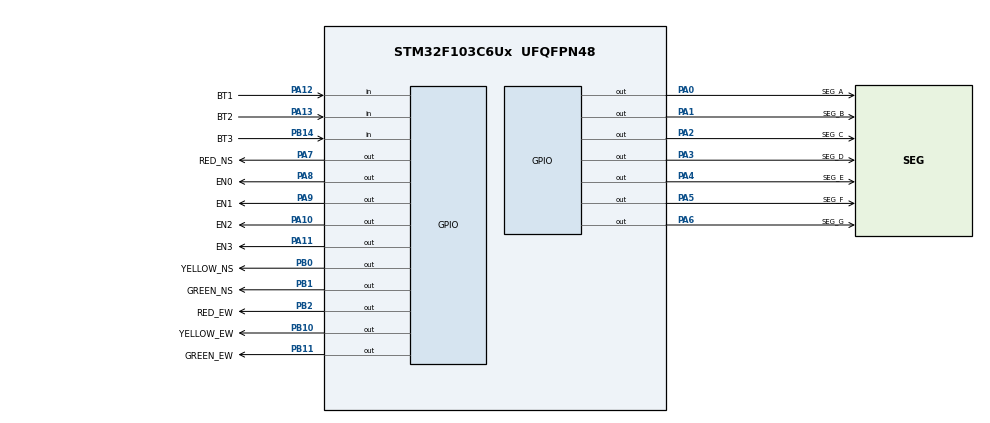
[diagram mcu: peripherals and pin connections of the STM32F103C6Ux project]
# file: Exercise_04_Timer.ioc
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Mcu.Family=STM32F1
Mcu.Name=STM32F103C6Ux
Mcu.Package=UFQFPN48
NVIC.PriorityGroup=NVIC_PRIORITYGROUP_4
NVIC.TIM2_IRQn=true\:0\:0\:false\:false\:true\:true\:true\:true
PA0-WKUP.GPIO_Label=SEG_A
PA0-WKUP.Signal=GPIO_Output
PA1.GPIO_Label=SEG_B
PA1.Signal=GPIO_Output
PA10.GPIO_Label=EN2
PA10.Signal=GPIO_Output
PA11.GPIO_Label=EN3
PA11.Signal=GPIO_Output
PA12.GPIO_Label=BT1
PA12.Signal=GPIO_Input
PA13.GPIO_Label=BT2
PA13.Signal=GPIO_Input
PA2.GPIO_Label=SEG_C
PA2.Signal=GPIO_Output
PA3.GPIO_Label=SEG_D
PA3.Signal=GPIO_Output
PA4.GPIO_Label=SEG_E
PA4.Signal=GPIO_Output
PA5.GPIO_Label=SEG_F
PA5.Signal=GPIO_Output
PA6.GPIO_Label=SEG_G
PA6.Signal=GPIO_Output
PA7.GPIO_Label=RED_NS
PA7.Signal=GPIO_Output
PA8.GPIO_Label=EN0
PA8.Signal=GPIO_Output
PA9.GPIO_Label=EN1
PA9.Signal=GPIO_Output
PB0.GPIO_Label=YELLOW_NS
PB0.Signal=GPIO_Output
PB1.GPIO_Label=GREEN_NS
PB1.Signal=GPIO_Output
PB10.GPIO_Label=YELLOW_EW
PB10.Signal=GPIO_Output
PB11.GPIO_Label=GREEN_EW
PB11.Signal=GPIO_Output
PB14.GPIO_Label=BT3
PB14.Signal=GPIO_Input
PB2.GPIO_Label=RED_EW
PB2.Signal=GPIO_Output
ProjectManager.HeapSize=0x200
ProjectManager.StackSize=0x400
ProjectManager.TargetToolchain=Makefile
RCC.APB1Freq_Value=8000000
RCC.APB2Freq_Value=8000000
TIM2.Period=9
TIM2.Prescaler=7999
VP_SYS_VS_ND.Mode=No_Debug
VP_TIM2_VS_ClockSourceINT.Mode=Internal
board=custom

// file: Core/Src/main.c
/* USER CODE BEGIN Header */
/**
  ******************************************************************************
  * @file           : main.c
  * @brief          : Main program body
  ******************************************************************************
  * @attention
  *
  * Copyright (c) 2026 STMicroelectronics.
  * All rights reserved.
  *
  * This software is licensed under terms that can be found in the LICENSE file
  * in the root directory of this software component.
  * If no LICENSE file comes with this software, it is provided AS-IS.
  *
  ******************************************************************************
  */
/* USER CODE END Header */
#include "main.h"

TIM_HandleTypeDef htim2;

void SystemClock_Config(void);
static void MX_GPIO_Init(void);
static void MX_TIM2_Init(void);

/* USER CODE BEGIN 0 */

volatile int timer0_counter = 0;
volatile int timer0_flag = 0;

int TIMER_CYCLE = 10;

void setTimer0(int duration)
{
    timer0_counter = duration / TIMER_CYCLE;
    timer0_flag = 0;
}

void timer_run(void)
{
    if (timer0_counter > 0)
    {
        timer0_counter--;

        if (timer0_counter == 0)
        {
            timer0_flag = 1;
        }
    }
}

/* USER CODE END 0 */

int main(void)
{

  /* MCU Configuration--------------------------------------------------------*/

  /* Reset of all peripherals, Initializes the Flash interface and the Systick. */
  HAL_Init();

  /* Configure the system clock */
  SystemClock_Config();

  /* Initialize all configured peripherals */
  MX_GPIO_Init();
  MX_TIM2_Init();
  /* USER CODE BEGIN 2 */
  HAL_TIM_Base_Start_IT(&htim2);

  setTimer0(250);
  /* USER CODE END 2 */

  /* Infinite loop */
  /* USER CODE BEGIN WHILE */
  while (1)
  {
      if (timer0_flag == 1)
      {
          HAL_GPIO_TogglePin(RED_NS_GPIO_Port, RED_NS_Pin);

          setTimer0(250);
      }
  }
  /* USER CODE END 3 */
}

void SystemClock_Config(void)
{
  RCC_OscInitTypeDef RCC_OscInitStruct = {0};
  RCC_ClkInitTypeDef RCC_ClkInitStruct = {0};

  /** Initializes the RCC Oscillators according to the specified parameters
  * in the RCC_OscInitTypeDef structure.
  */
  RCC_OscInitStruct.OscillatorType = RCC_OSCILLATORTYPE_HSI;
  RCC_OscInitStruct.HSIState = RCC_HSI_ON;
  RCC_OscInitStruct.HSICalibrationValue = RCC_HSICALIBRATION_DEFAULT;
  RCC_OscInitStruct.PLL.PLLState = RCC_PLL_NONE;
  if (HAL_RCC_OscConfig(&RCC_OscInitStruct) != HAL_OK)
  {
    Error_Handler();
  }

  /** Initializes the CPU, AHB and APB buses clocks
  */
  RCC_ClkInitStruct.ClockType = RCC_CLOCKTYPE_HCLK|RCC_CLOCKTYPE_SYSCLK
                              |RCC_CLOCKTYPE_PCLK1|RCC_CLOCKTYPE_PCLK2;
  RCC_ClkInitStruct.SYSCLKSource = RCC_SYSCLKSOURCE_HSI;
  RCC_ClkInitStruct.AHBCLKDivider = RCC_SYSCLK_DIV1;
  RCC_ClkInitStruct.APB1CLKDivider = RCC_HCLK_DIV1;
  RCC_ClkInitStruct.APB2CLKDivider = RCC_HCLK_DIV1;

  if (HAL_RCC_ClockConfig(&RCC_ClkInitStruct, FLASH_LATENCY_0) != HAL_OK)
  {
    Error_Handler();
  }
}

static void MX_TIM2_Init(void)
{

  TIM_ClockConfigTypeDef sClockSourceConfig = {0};
  TIM_MasterConfigTypeDef sMasterConfig = {0};

  htim2.Instance = TIM2;
  htim2.Init.Prescaler = 7999;
  htim2.Init.CounterMode = TIM_COUNTERMODE_UP;
  htim2.Init.Period = 9;
  htim2.Init.ClockDivision = TIM_CLOCKDIVISION_DIV1;
  htim2.Init.AutoReloadPreload = TIM_AUTORELOAD_PRELOAD_DISABLE;
  if (HAL_TIM_Base_Init(&htim2) != HAL_OK)
  {
    Error_Handler();
  }
  sClockSourceConfig.ClockSource = TIM_CLOCKSOURCE_INTERNAL;
  if (HAL_TIM_ConfigClockSource(&htim2, &sClockSourceConfig) != HAL_OK)
  {
    Error_Handler();
  }
  sMasterConfig.MasterOutputTrigger = TIM_TRGO_RESET;
  sMasterConfig.MasterSlaveMode = TIM_MASTERSLAVEMODE_DISABLE;
  if (HAL_TIMEx_MasterConfigSynchronization(&htim2, &sMasterConfig) != HAL_OK)
  {
    Error_Handler();
  }

}

static void MX_GPIO_Init(void)
{
  GPIO_InitTypeDef GPIO_InitStruct = {0};

  /* GPIO Ports Clock Enable */
  __HAL_RCC_GPIOA_CLK_ENABLE();
  __HAL_RCC_GPIOB_CLK_ENABLE();

  /*Configure GPIO pin Output Level */
  HAL_GPIO_WritePin(GPIOA, SEG_A_Pin|SEG_B_Pin|SEG_C_Pin|SEG_D_Pin
                          |SEG_E_Pin|SEG_F_Pin|SEG_G_Pin|RED_NS_Pin
                          |EN0_Pin|EN1_Pin|EN2_Pin|EN3_Pin, GPIO_PIN_RESET);

  /*Configure GPIO pin Output Level */
  HAL_GPIO_WritePin(GPIOB, YELLOW_NS_Pin|GREEN_NS_Pin|RED_EW_Pin|YELLOW_EW_Pin
                          |GREEN_EW_Pin, GPIO_PIN_RESET);

  /*Configure GPIO pins : SEG_A_Pin SEG_B_Pin SEG_C_Pin SEG_D_Pin
                           SEG_E_Pin SEG_F_Pin SEG_G_Pin RED_NS_Pin
                           EN0_Pin EN1_Pin EN2_Pin EN3_Pin */
  GPIO_InitStruct.Pin = SEG_A_Pin|SEG_B_Pin|SEG_C_Pin|SEG_D_Pin
                          |SEG_E_Pin|SEG_F_Pin|SEG_G_Pin|RED_NS_Pin
                          |EN0_Pin|EN1_Pin|EN2_Pin|EN3_Pin;
  GPIO_InitStruct.Mode = GPIO_MODE_OUTPUT_PP;
  GPIO_InitStruct.Pull = GPIO_NOPULL;
  GPIO_InitStruct.Speed = GPIO_SPEED_FREQ_LOW;
  HAL_GPIO_Init(GPIOA, &GPIO_InitStruct);

  /*Configure GPIO pins : YELLOW_NS_Pin GREEN_NS_Pin RED_EW_Pin YELLOW_EW_Pin
                           GREEN_EW_Pin */
  GPIO_InitStruct.Pin = YELLOW_NS_Pin|GREEN_NS_Pin|RED_EW_Pin|YELLOW_EW_Pin
                          |GREEN_EW_Pin;
  GPIO_InitStruct.Mode = GPIO_MODE_OUTPUT_PP;
  GPIO_InitStruct.Pull = GPIO_NOPULL;
  GPIO_InitStruct.Speed = GPIO_SPEED_FREQ_LOW;
  HAL_GPIO_Init(GPIOB, &GPIO_InitStruct);

  /*Configure GPIO pin : BT3_Pin */
  GPIO_InitStruct.Pin = BT3_Pin;
  GPIO_InitStruct.Mode = GPIO_MODE_INPUT;
  GPIO_InitStruct.Pull = GPIO_NOPULL;
  HAL_GPIO_Init(BT3_GPIO_Port, &GPIO_InitStruct);

  /*Configure GPIO pins : BT1_Pin BT2_Pin */
  GPIO_InitStruct.Pin = BT1_Pin|BT2_Pin;
  GPIO_InitStruct.Mode = GPIO_MODE_INPUT;
  GPIO_InitStruct.Pull = GPIO_NOPULL;
  HAL_GPIO_Init(GPIOA, &GPIO_InitStruct);

}

/* USER CODE BEGIN 4 */
void HAL_TIM_PeriodElapsedCallback(TIM_HandleTypeDef *htim)
{
    if (htim->Instance == TIM2)
    {
        timer_run();
    }
}
/* USER CODE END 4 */

void Error_Handler(void)
{
  __disable_irq();
  while (1)
  {
  }
}
